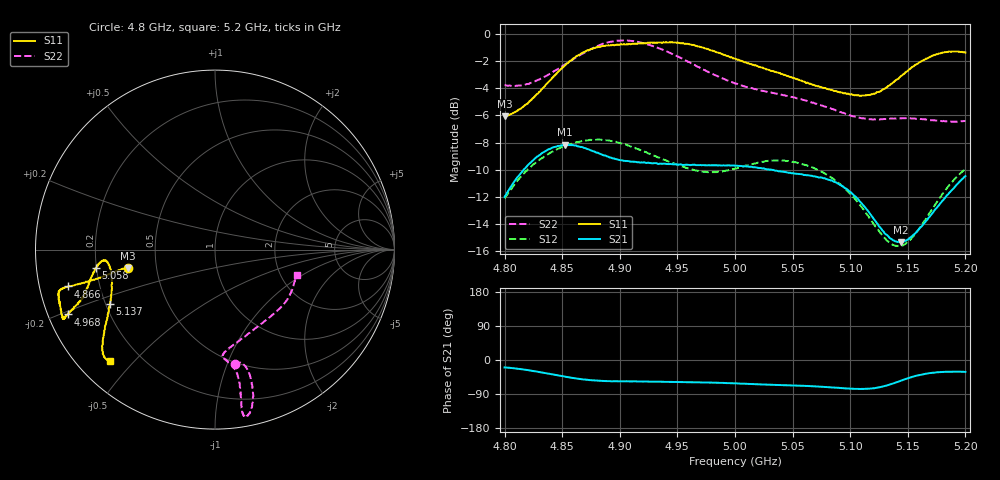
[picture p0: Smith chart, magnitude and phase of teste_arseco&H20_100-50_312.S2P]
! Network Analyzer HP8722D
! Hewlett-Packard
! Data name: Linha & Wilkinson
! Saver's name: Rodrigo Anjos
! Comments: Teste da utilização de aquisição
! continua pelo VNA HP8722D
! Time and date: 6/5/2025 15:10
!  Frequency  S11  S21  S12  S22
# HZ  S  MA R 50
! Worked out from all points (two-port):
!   401 points, 4.8 GHz to 5.2 GHz, reference 50 ohm
!   highest |S21| = -8.16 dB at 4.852 GHz (marker M1); lowest = -15.3 dB at 5.144 GHz (marker M2)
!   |S21| within 3 dB of the highest: 4.806 GHz to 5.092 GHz (286.4 MHz wide, 5.79 % of centre); 5.191719 GHz to end of sweep
!   lowest |S11| = -6.1 dB at 4.8 GHz (marker M3), VSWR 2.97, Z = 17 - j4.6 ohm
!   |S11| at or under -10 dB: nowhere
!   |S22| runs from -6.5 to -0.5 dB; largest |S21 - S12| = 0.62
!   S11 on the Smith chart (normalised r, x): 4.8 GHz: 0.34, -0.09; 4.866 GHz: 0.09, -0.12; 4.968 GHz: 0.06, -0.21; 5.058 GHz: 0.20, -0.07; 5.137 GHz: 0.22, -0.23; 5.2 GHz: 0.09, -0.43
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4.8e9  0.4967 -168.1  0.2516 -19.6  0.2484 -140.8  0.6475 -80.3
4.823e9  0.57 -167.5  0.3374 -28.0  0.3252 -143.7  0.6609 -76.0
4.852e9  0.7633 -165.8  0.3907 -43.7  0.3865 -149.3  0.7693 -74.5
4.866e9  0.8433 -165.9  0.3837 -50.3  0.4025 -151.8  0.8372 -75.3
4.867e9  0.8476 -165.8  0.3837 -50.8  0.4031 -151.9  0.8429 -75.3
4.883e9  0.8955 -165.2  0.362 -55.1  0.4081 -154.6  0.9102 -77.1
4.899e9  0.9108 -162.8  0.344 -56.5  0.3978 -156.7  0.9426 -79.0
4.914e9  0.9193 -159.7  0.3382 -56.4  0.3786 -157.1  0.9378 -80.2
4.934e9  0.9283 -156.3  0.3325 -57.4  0.3509 -155.6  0.8834 -80.4
4.968e9  0.8976 -156.3  0.329 -59.0  0.3138 -147.6  0.7546 -79.6
5e9  0.8109 -159.1  0.3277 -61.8  0.3198 -137.2  0.657 -81.2
5.035e9  0.7237 -165.2  0.314 -65.8  0.3425 -134.3  0.6031 -85.6
5.058e9  0.6721 -171.3  0.3046 -68.0  0.3319 -136.0  0.5739 -84.5
5.067e9  0.6517 -173.1  0.3004 -69.1  0.3232 -136.7  0.5583 -82.6
5.087e9  0.6162 -174.4  0.2849 -73.0  0.2894 -138.5  0.5251 -74.9
5.104e9  0.5945 -171.0  0.2535 -76.0  0.2478 -138.4  0.4961 -64.6
5.134e9  0.6449 -154.2  0.1781 -65.3  0.171 -120.8  0.4868 -43.3
5.137e9  0.6601 -152.5  0.1743 -62.4  0.1677 -116.9  0.4881 -41.5
5.144e9  0.6989 -148.8  0.1713 -54.7  0.1658 -107.5  0.4885 -37.6
5.155e9  0.7583 -144.0  0.1826 -43.6  0.1806 -94.0  0.4881 -32.0
5.173e9  0.835 -138.8  0.2241 -33.4  0.2329 -80.8  0.4809 -24.2
5.2e9  0.8528 -133.5  0.2997 -31.4  0.3186 -76.8  0.4778 -17.5
